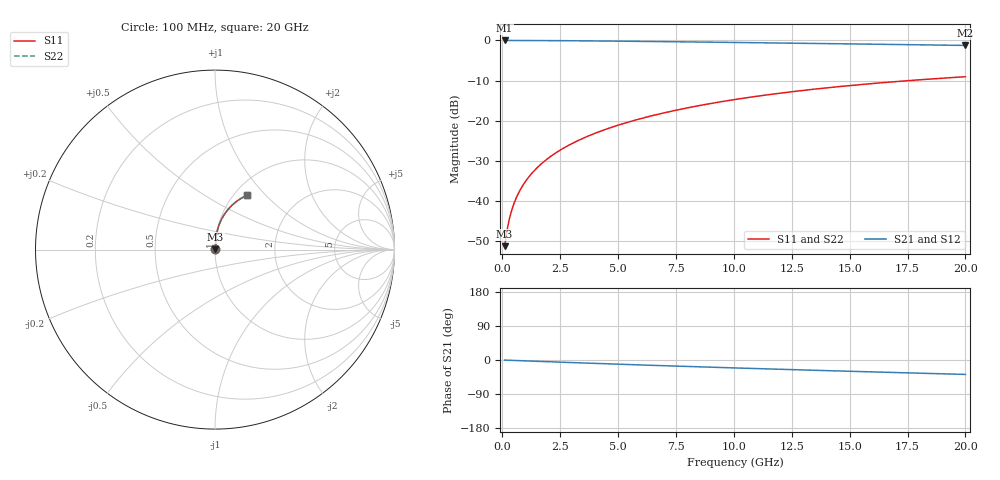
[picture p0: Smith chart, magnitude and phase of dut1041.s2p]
! Touchstone file exported from HFSS 2024.1.0
!  File:  C:/UserFiles/LocalFiles/RDL_TSV_Batchsim/temp_RDL_top_1041_1780044085.aedt
!  Generated:  04:43:50 PM May 29, 2026
!  Design:  RDL_top
!  Project:  temp_RDL_top_1041_1780044085
!  Setup:  Setup1
!  Solution:  Sweep
! Variables:
!  dtsv = 10.80580581um
!  hbump = 3um
!  htsv = 75.57um
!  ldown = 100um
!  lrdl = 534.52um
!  p = 40
!  p1 = 51.91um
!  rhole = 1um
!  t = 450um
!  tdown = 3.915915916um
!  trdl = 4.78um
!  wdown = 15.38538539um
!  wrdl = 21.43um
# GHz S MA R 50.000000
! Terminal data exported
! Port[1] = Box2_T1
! Port[2] = Box2_T2
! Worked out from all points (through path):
!   200 points, 100 MHz to 20 GHz, reference 50 ohm
!   highest |S21| = -0.02 dB at 100 MHz (marker M1); lowest = -1.3 dB at 20 GHz (marker M2)
!   group delay of S21, straight-line fit = 5.24 ps
!   lowest |S11| = -51.3 dB at 100 MHz (marker M3), VSWR 1.01, Z = 50.2 + j0.187 ohm
!   |S11| at or under -10 dB: start of sweep to 17.59 GHz
!   |S22| runs from -51.3 to -9.1 dB; largest |S21 - S12| = 2.6e-15
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0.1  0.002735 42.8  0.998 -0.2  0.998 -0.2  0.002735 42.8
! Gamma 0 0 0 0
! Port Impedance 50 0 50 0
0.2  0.004239 60.3  0.9979 -0.5  0.9979 -0.5  0.004238 60.3
0.3  0.005889 67.8  0.9977 -0.7  0.9977 -0.7  0.005889 67.8
0.4  0.007555 71.9  0.9975 -0.9  0.9975 -0.9  0.007555 71.9
0.5  0.009214 74.5  0.9974 -1.2  0.9974 -1.2  0.009214 74.5
0.7  0.01252 77.8  0.9971 -1.6  0.9971 -1.6  0.01252 77.8
0.8  0.01417 78.9  0.9969 -1.9  0.9969 -1.9  0.01417 78.9
1  0.01749 80.6  0.9966 -2.3  0.9966 -2.3  0.01748 80.6
1.2  0.02082 81.8  0.9961 -2.8  0.9961 -2.8  0.02082 81.8
1.4  0.02418 82.6  0.9957 -3.2  0.9957 -3.2  0.02418 82.6
1.7  0.02925 83.5  0.9949 -3.9  0.9949 -3.9  0.02925 83.5
2  0.03437 84.1  0.9939 -4.6  0.9939 -4.6  0.03437 84.1
2.7  0.04647 84.7  0.9912 -6.1  0.9912 -6.1  0.04647 84.7
3.5  0.06058 84.8  0.9873 -7.9  0.9873 -7.9  0.06058 84.8
4.2  0.07317 84.6  0.9834 -9.4  0.9834 -9.4  0.07317 84.6
5  0.08783 84.0  0.9786 -11.1  0.9786 -11.1  0.08783 84.0
6.8  0.1216 82.0  0.9664 -14.7  0.9664 -14.7  0.1216 82.0
8.4  0.1522 79.6  0.9548 -17.9  0.9548 -17.9  0.1522 79.6
10.1  0.1846 76.8  0.9421 -21.1  0.9421 -21.1  0.1846 76.8
13.4  0.2455 70.9  0.9169 -27.0  0.9169 -27.0  0.2456 70.9
16.7  0.3019 65.0  0.8912 -32.7  0.8912 -32.7  0.302 65.0
20  0.3527 59.4  0.8654 -38.0  0.8654 -38.0  0.3527 59.3
